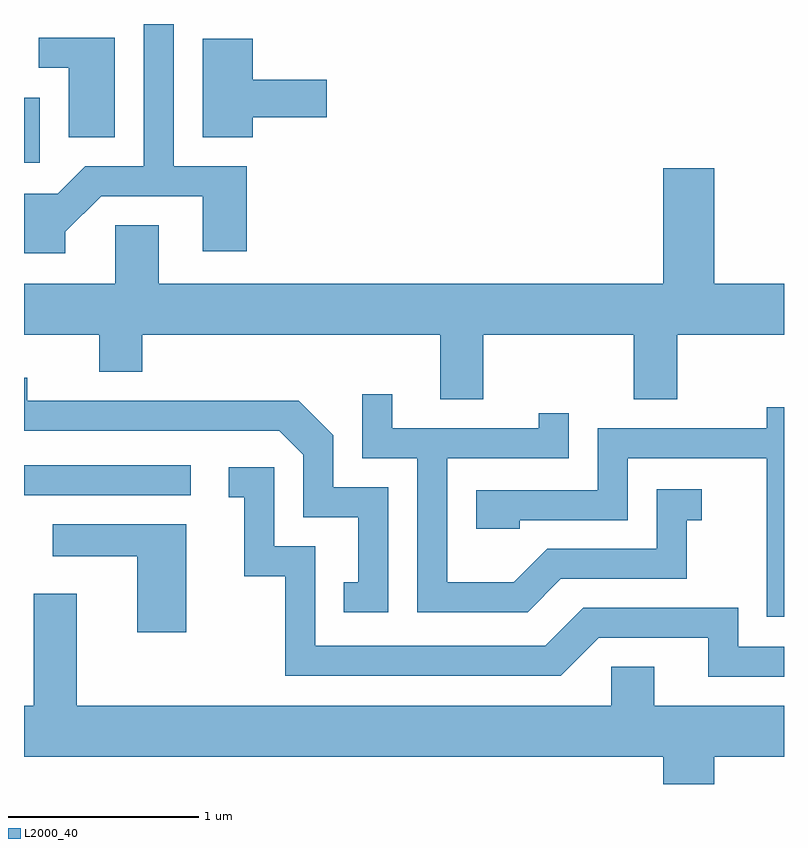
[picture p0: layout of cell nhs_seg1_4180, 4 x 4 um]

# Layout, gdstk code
import gdstk
lib = gdstk.Library(unit=1e-6, precision=1e-09)
def R(c, l, rs):  # rectangles x0, y0, x1, y1
    for r in rs: c.add(gdstk.rectangle(r[:2], r[2:], *l))
def P(c, l, *ps):  # polygons
    for p in ps: c.add(gdstk.Polygon(p, *l))
L2000_40 = (2000, 40)

nhs_seg1_4180 = lib.new_cell('nhs_seg1_4180')
R(nhs_seg1_4180, L2000_40, [(311.611,843.231,312.488,843.389), (311.611,844.981,311.694,845.324)])
P(nhs_seg1_4180, L2000_40, [(311.829,844.619),(312.017,844.806),(312.551,844.806),(312.551,844.516),(312.784,844.516),(312.784,844.964),(312.399,844.964),(312.399,845.712),(312.241,845.712),(312.241,844.964),(311.934,844.964),(311.789,844.819),(311.611,844.819),(311.611,844.506),(311.829,844.506)],
  [(312.089,845.639),(311.688,845.639),(311.688,845.481),(311.846,845.481),(311.846,845.116),(312.089,845.116)],
  [(312.814,845.221),(313.204,845.221),(313.204,845.419),(312.814,845.419),(312.814,845.634),(312.551,845.634),(312.551,845.116),(312.814,845.116)],
  [(314.029,844.076),(314.821,844.076),(314.821,843.736),(315.049,843.736),(315.049,844.076),(315.611,844.076),(315.611,844.344),(315.244,844.344),(315.244,844.954),(314.976,844.954),(314.976,844.344),(312.319,844.344),(312.319,844.654),(312.091,844.654),(312.091,844.344),(311.611,844.344),(311.611,844.076),(312.006,844.076),(312.006,843.881),(312.234,843.881),(312.234,844.076),(313.801,844.076),(313.801,843.736),(314.029,843.736)],
  [(313.529,843.274),(313.239,843.274),(313.239,843.547),(313.057,843.729),(311.629,843.729),(311.629,843.849),(311.611,843.849),(311.611,843.571),(312.954,843.571),(313.081,843.444),(313.081,843.116),(313.371,843.116),(313.371,842.774),(313.293,842.774),(313.293,842.616),(313.529,842.616)],
  [(314.437,842.791),(315.099,842.791),(315.099,843.101),(315.178,843.101),(315.178,843.264),(314.941,843.264),(314.941,842.949),(314.364,842.949),(314.189,842.774),(313.839,842.774),(313.839,843.426),(314.479,843.426),(314.479,843.663),(314.321,843.663),(314.321,843.584),(313.549,843.584),(313.549,843.763),(313.391,843.763),(313.391,843.426),(313.681,843.426),(313.681,842.616),(314.262,842.616)],
  [(315.611,843.694),(315.521,843.694),(315.521,843.584),(314.631,843.584),(314.631,843.259),(313.991,843.259),(313.991,843.056),(314.219,843.056),(314.219,843.101),(314.789,843.101),(314.789,843.426),(315.521,843.426),(315.521,842.591),(315.611,842.591)],
  [(315.611,842.434),(315.369,842.434),(315.369,842.639),(314.554,842.639),(314.354,842.439),(313.144,842.439),(313.144,842.964),(312.929,842.964),(312.929,843.379),(312.688,843.379),(312.688,843.221),(312.771,843.221),(312.771,842.806),(312.986,842.806),(312.986,842.281),(314.437,842.281),(314.637,842.481),(315.211,842.481),(315.211,842.276),(315.611,842.276)],
  [(312.464,843.079),(311.763,843.079),(311.763,842.911),(312.206,842.911),(312.206,842.511),(312.464,842.511)],
  [(315.244,841.856),(315.611,841.856),(315.611,842.124),(314.929,842.124),(314.929,842.329),(314.701,842.329),(314.701,842.124),(311.889,842.124),(311.889,842.714),(311.661,842.714),(311.661,842.124),(311.611,842.124),(311.611,841.856),(314.976,841.856),(314.976,841.712),(315.244,841.712)])

lib.write_gds('nhs_seg1_4180.gds')
